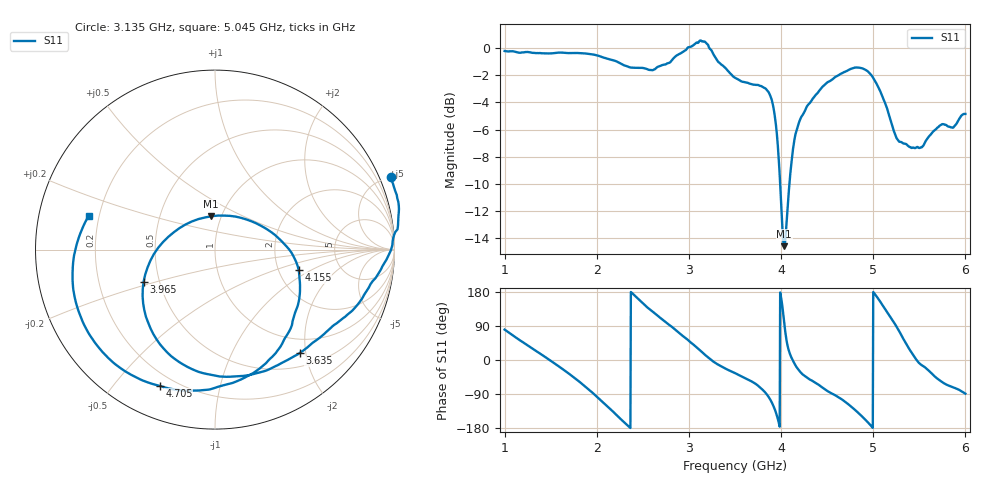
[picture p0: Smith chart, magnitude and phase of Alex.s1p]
!Agilent Technologies,E8364B,MY43040633,A.07.50.37
!Agilent E8364B: A.07.50.37
!Date: Tuesday, December 16, 2025 16:57:43
!Correction: S11(Full 1 Port(1))
!S1P File: Measurement: S11:
# Hz S  RI  R 50
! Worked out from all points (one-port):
!   1001 points, 1 GHz to 6 GHz, reference 50 ohm
!   lowest |S11| = -14.6 dB at 4.035 GHz (marker M1), VSWR 1.46, Z = 44.8 + j17.2 ohm
!   |S11| at or under -10 dB: 3.99 GHz to 4.09 GHz (100.2 MHz wide, 2.48 % of centre)
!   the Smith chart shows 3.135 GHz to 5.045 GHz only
!   S11 on the Smith chart (normalised r, x): 3.135 GHz: -0.78, +4.93; 3.635 GHz: 0.72, -1.88; 3.965 GHz: 0.41, -0.18; 4.155 GHz: 2.58, -0.77; 4.705 GHz: 0.14, -0.66; 5.045 GHz: 0.16, +0.13
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1e9  0.1661 0.96
1.33e9  0.8643 0.4139
1.625e9  0.8832 -0.3789
1.815e9  0.5074 -0.812
1.96e9  0.0373 -0.9452
2.1e9  -0.4385 -0.8044
2.25e9  -0.7879 -0.3908
2.49e9  -0.7464 0.396
2.69e9  -0.3086 0.8015
2.875e9  0.2459 0.9096
3.135e9  0.982 0.4051
3.29e9  0.9107 -0.1331
3.5e9  0.6408 -0.4401
3.635e9  0.4712 -0.5778
3.855e9  -0.0478 -0.6925
3.965e9  -0.3978 -0.1785
4.035e9  -0.0212 0.1857
4.125e9  0.4129 0.00122
4.155e9  0.4662 -0.114
4.455e9  0.2008 -0.6948
4.705e9  -0.3087 -0.7597
4.75e9  -0.4279 -0.7175
4.92e9  -0.7741 -0.2979
5.045e9  -0.7037 0.1886
5.18e9  -0.2415 0.4983
5.375e9  0.3577 0.2517
5.705e9  0.3227 -0.3972
6e9  0.0119 -0.572
